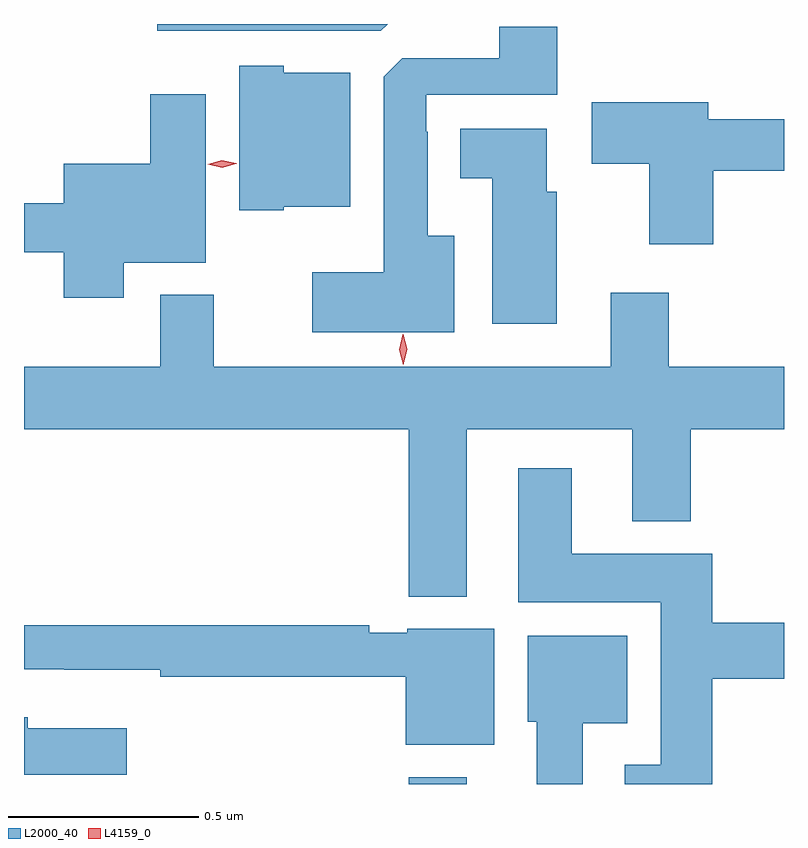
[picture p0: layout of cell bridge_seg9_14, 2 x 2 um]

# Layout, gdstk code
import gdstk
lib = gdstk.Library(unit=1e-6, precision=1e-09)
def R(c, l, rs):  # rectangles x0, y0, x1, y1
    for r in rs: c.add(gdstk.rectangle(r[:2], r[2:], *l))
def P(c, l, *ps):  # polygons
    for p in ps: c.add(gdstk.Polygon(p, *l))
L2000_40 = (2000, 40)
L4159_0 = (4159, 0)

bridge_seg9_14 = lib.new_cell('bridge_seg9_14')
R(bridge_seg9_14, L2000_40, [(960.791,1246.102,960.943,1246.12)])
P(bridge_seg9_14, L2000_40, [(960.735,1248.102),(960.129,1248.102),(960.129,1248.084),(960.717,1248.084)],
  [(960.91,1247.545),(960.841,1247.545),(960.841,1247.819),(960.837,1247.819),(960.837,1247.916),(961.181,1247.916),(961.181,1248.095),(961.028,1248.095),(961.028,1248.012),(960.774,1248.012),(960.725,1247.963),(960.725,1247.449),(960.537,1247.449),(960.537,1247.291),(960.91,1247.291)],
  [(960.462,1247.621),(960.637,1247.621),(960.637,1247.974),(960.462,1247.974),(960.462,1247.992),(960.344,1247.992),(960.344,1247.612),(960.462,1247.612)],
  [(960.04,1247.474),(960.256,1247.474),(960.256,1247.917),(960.11,1247.917),(960.11,1247.734),(959.882,1247.734),(959.882,1247.63),(959.778,1247.63),(959.778,1247.502),(959.882,1247.502),(959.882,1247.382),(960.04,1247.382)],
  [(961.592,1247.716),(961.778,1247.716),(961.778,1247.852),(961.579,1247.852),(961.579,1247.896),(961.272,1247.896),(961.272,1247.734),(961.424,1247.734),(961.424,1247.523),(961.592,1247.523)],
  [(961.18,1247.661),(961.153,1247.661),(961.153,1247.827),(960.926,1247.827),(960.926,1247.696),(961.01,1247.696),(961.01,1247.313),(961.18,1247.313)],
  [(960.943,1247.036),(961.379,1247.036),(961.379,1246.793),(961.532,1246.793),(961.532,1247.036),(961.778,1247.036),(961.778,1247.2),(961.475,1247.2),(961.475,1247.395),(961.322,1247.395),(961.322,1247.2),(960.277,1247.2),(960.277,1247.389),(960.137,1247.389),(960.137,1247.2),(959.778,1247.2),(959.778,1247.036),(960.791,1247.036),(960.791,1246.595),(960.943,1246.595)],
  [(961.589,1246.379),(961.778,1246.379),(961.778,1246.526),(961.589,1246.526),(961.589,1246.708),(961.219,1246.708),(961.219,1246.933),(961.079,1246.933),(961.079,1246.58),(961.454,1246.58),(961.454,1246.153),(961.359,1246.153),(961.359,1246.102),(961.589,1246.102)],
  [(961.015,1246.51),(960.786,1246.51),(960.786,1246.5),(960.686,1246.5),(960.686,1246.52),(959.778,1246.52),(959.778,1246.404),(959.884,1246.404),(959.884,1246.403),(960.136,1246.403),(960.136,1246.384),(960.782,1246.384),(960.782,1246.205),(961.015,1246.205)],
  [(961.249,1246.262),(961.366,1246.262),(961.366,1246.492),(961.103,1246.492),(961.103,1246.266),(961.127,1246.266),(961.127,1246.102),(961.249,1246.102)],
  [(960.049,1246.249),(959.788,1246.249),(959.788,1246.278),(959.778,1246.278),(959.778,1246.127),(960.049,1246.127)])
P(bridge_seg9_14, L4159_0, [(960.776,1247.205),(960.776,1247.205),(960.766,1247.245),(960.775,1247.286),(960.776,1247.286),(960.776,1247.286),(960.786,1247.246),(960.776,1247.205)],
  [(960.3,1247.724),(960.262,1247.733),(960.261,1247.733),(960.262,1247.733),(960.299,1247.744),(960.337,1247.735),(960.338,1247.734),(960.337,1247.734)])

lib.write_gds('bridge_seg9_14.gds')
